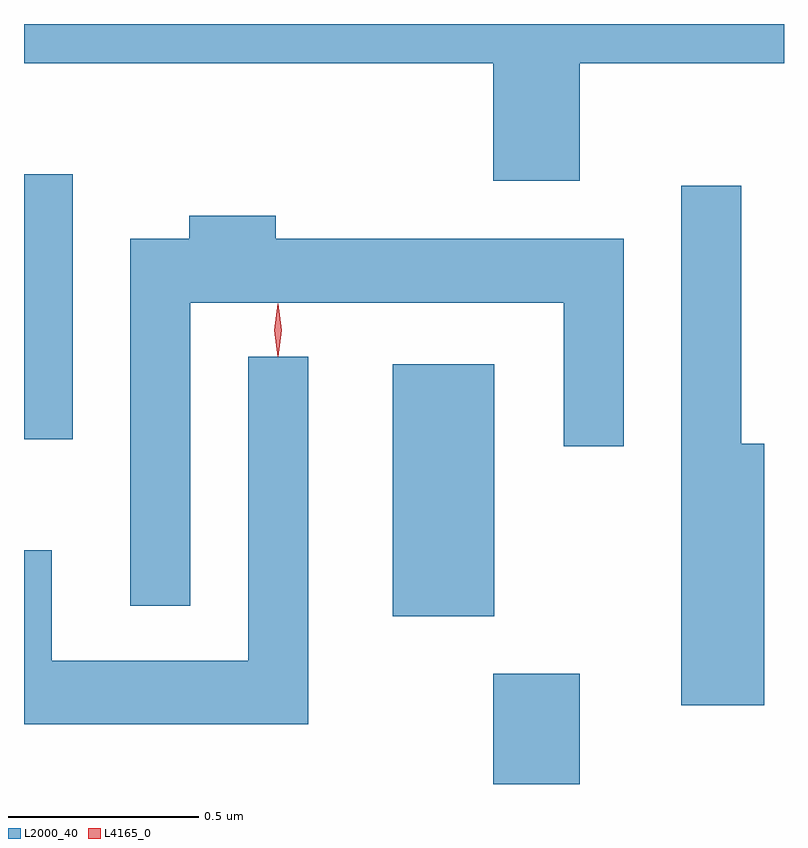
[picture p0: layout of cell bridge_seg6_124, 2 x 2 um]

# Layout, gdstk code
import gdstk
lib = gdstk.Library(unit=1e-6, precision=1e-09)
def R(c, l, rs):  # rectangles x0, y0, x1, y1
    for r in rs: c.add(gdstk.rectangle(r[:2], r[2:], *l))
def P(c, l, *ps):  # polygons
    for p in ps: c.add(gdstk.Polygon(p, *l))
L2000_40 = (2000, 40)
L4165_0 = (4165, 0)

bridge_seg6_124 = lib.new_cell('bridge_seg6_124')
R(bridge_seg6_124, L2000_40, [(1179.001,1621.399,1179.229,1621.689), (1178.736,1621.841,1179.004,1622.504), (1177.766,1622.306,1177.894,1623.004)])
P(bridge_seg6_124, L2000_40, [(1179.229,1623.296),(1179.766,1623.296),(1179.766,1623.399),(1177.766,1623.399),(1177.766,1623.296),(1179.001,1623.296),(1179.001,1622.986),(1179.229,1622.986)],
  [(1179.714,1622.294),(1179.654,1622.294),(1179.654,1622.973),(1179.496,1622.973),(1179.496,1621.606),(1179.714,1621.606)],
  [(1178.204,1622.666),(1179.186,1622.666),(1179.186,1622.288),(1179.344,1622.288),(1179.344,1622.834),(1178.429,1622.834),(1178.429,1622.894),(1178.201,1622.894),(1178.201,1622.834),(1178.046,1622.834),(1178.046,1621.868),(1178.204,1621.868)],
  [(1178.514,1622.523),(1178.356,1622.523),(1178.356,1621.724),(1177.839,1621.724),(1177.839,1622.014),(1177.766,1622.014),(1177.766,1621.556),(1178.514,1621.556)])
P(bridge_seg6_124, L4165_0, [(1178.434,1622.524),(1178.434,1622.524),(1178.424,1622.593),(1178.434,1622.663),(1178.434,1622.663),(1178.435,1622.663),(1178.444,1622.593),(1178.435,1622.524)])

lib.write_gds('bridge_seg6_124.gds')
